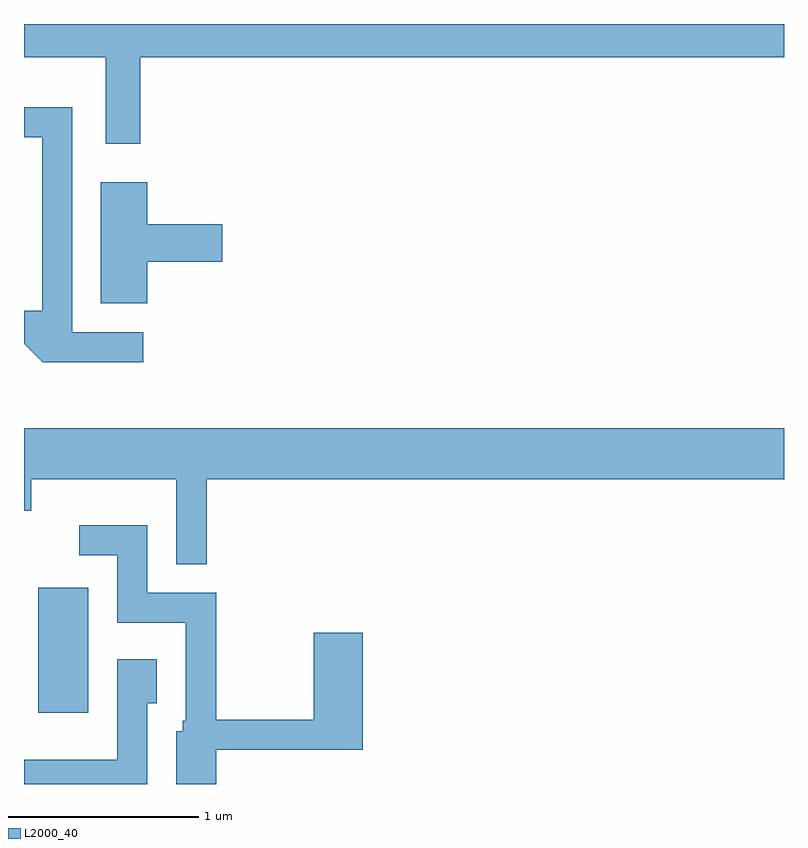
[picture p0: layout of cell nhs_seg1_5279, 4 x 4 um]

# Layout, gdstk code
import gdstk
lib = gdstk.Library(unit=1e-6, precision=1e-09)
def R(c, l, rs):  # rectangles x0, y0, x1, y1
    for r in rs: c.add(gdstk.rectangle(r[:2], r[2:], *l))
def P(c, l, *ps):  # polygons
    for p in ps: c.add(gdstk.Polygon(p, *l))
L2000_40 = (2000, 40)

nhs_seg1_5279 = lib.new_cell('nhs_seg1_5279')
R(nhs_seg1_5279, L2000_40, [(343.686,936.086,343.949,936.744)])
P(nhs_seg1_5279, L2000_40, [(344.224,939.536),(347.611,939.536),(347.611,939.712),(343.611,939.712),(343.611,939.536),(344.041,939.536),(344.041,939.081),(344.224,939.081)],
  [(344.238,938.089),(343.864,938.089),(343.864,939.274),(343.611,939.274),(343.611,939.116),(343.706,939.116),(343.706,938.204),(343.611,938.204),(343.611,938.029),(343.709,937.931),(344.238,937.931)],
  [(344.259,938.461),(344.654,938.461),(344.654,938.659),(344.259,938.659),(344.259,938.879),(344.016,938.879),(344.016,938.241),(344.259,938.241)],
  [(344.574,937.316),(347.611,937.316),(347.611,937.584),(343.611,937.584),(343.611,937.151),(343.649,937.151),(343.649,937.316),(344.411,937.316),(344.411,936.868),(344.574,936.868)],
  [(344.624,935.891),(345.394,935.891),(345.394,936.509),(345.136,936.509),(345.136,936.049),(344.624,936.049),(344.624,936.719),(344.259,936.719),(344.259,937.074),(343.903,937.074),(343.903,936.916),(344.101,936.916),(344.101,936.561),(344.461,936.561),(344.461,936.045),(344.446,936.045),(344.446,935.989),(344.411,935.989),(344.411,935.712),(344.624,935.712)],
  [(344.259,936.136),(344.309,936.136),(344.309,936.369),(344.101,936.369),(344.101,935.839),(343.611,935.839),(343.611,935.712),(344.259,935.712)])

lib.write_gds('nhs_seg1_5279.gds')
